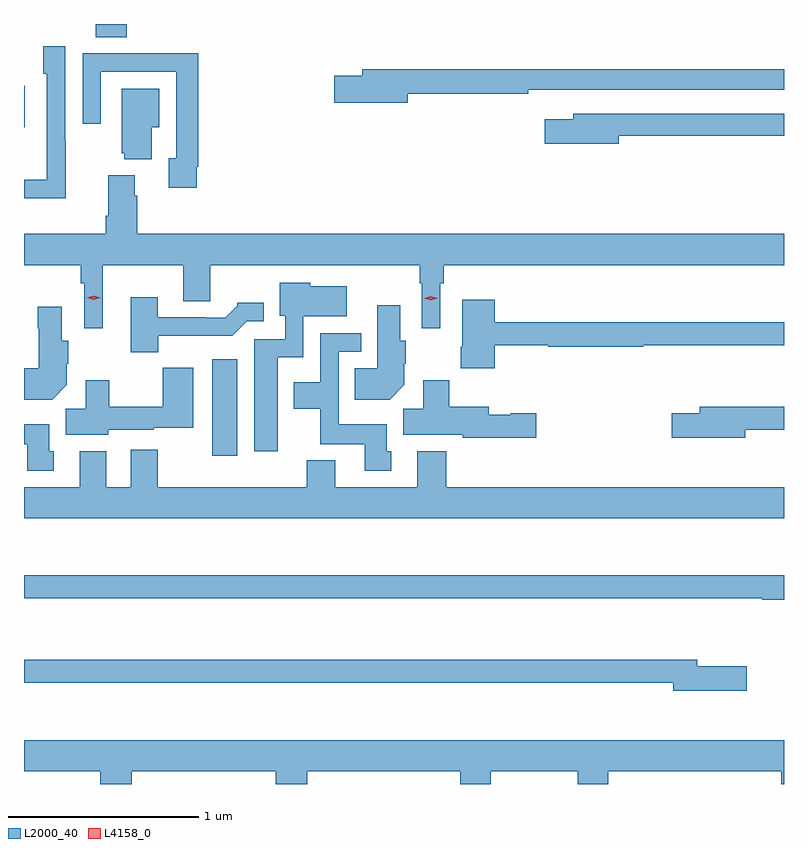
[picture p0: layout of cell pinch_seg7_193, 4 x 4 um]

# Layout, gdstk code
import gdstk
lib = gdstk.Library(unit=1e-6, precision=1e-09)
def R(c, l, rs):  # rectangles x0, y0, x1, y1
    for r in rs: c.add(gdstk.rectangle(r[:2], r[2:], *l))
def P(c, l, *ps):  # polygons
    for p in ps: c.add(gdstk.Polygon(p, *l))
L2000_40 = (2000, 40)
L4158_0 = (4158, 0)

pinch_seg7_193 = lib.new_cell('pinch_seg7_193')
R(pinch_seg7_193, L2000_40, [(660.422,1070.208,660.553,1070.716), (659.43,1071.938,659.434,1072.157), (659.807,1072.411,659.972,1072.481)])
P(pinch_seg7_193, L2000_40, [(659.649,1071.869),(659.646,1071.869),(659.646,1072.363),(659.531,1072.363),(659.531,1072.218),(659.55,1072.218),(659.55,1071.66),(659.43,1071.66),(659.43,1071.563),(659.649,1071.563)],
  [(660.34,1071.73),(660.347,1071.73),(660.347,1072.328),(660.055,1072.328),(660.055,1072.326),(659.739,1072.326),(659.739,1071.957),(659.835,1071.957),(659.835,1072.23),(660.231,1072.23),(660.231,1071.774),(660.191,1071.774),(660.191,1071.618),(660.34,1071.618)],
  [(661.45,1072.114),(662.084,1072.114),(662.084,1072.134),(663.43,1072.134),(663.43,1072.243),(661.211,1072.243),(661.211,1072.209),(661.062,1072.209),(661.062,1072.067),(661.45,1072.067)],
  [(660.103,1071.938),(660.142,1071.938),(660.142,1072.141),(659.945,1072.141),(659.945,1071.801),(659.957,1071.801),(659.957,1071.77),(660.103,1071.77)],
  [(662.56,1071.892),(663.43,1071.892),(663.43,1072.008),(662.321,1072.008),(662.321,1071.979),(662.172,1071.979),(662.172,1071.85),(662.56,1071.85)],
  [(659.845,1071.212),(660.269,1071.212),(660.269,1071.022),(660.409,1071.022),(660.409,1071.212),(661.512,1071.212),(661.512,1071.116),(661.524,1071.116),(661.524,1070.88),(661.62,1070.88),(661.62,1071.116),(661.64,1071.116),(661.64,1071.212),(663.43,1071.212),(663.43,1071.376),(660.026,1071.376),(660.026,1071.578),(660.013,1071.578),(660.013,1071.685),(659.873,1071.685),(659.873,1071.472),(659.861,1071.472),(659.861,1071.376),(659.43,1071.376),(659.43,1071.212),(659.728,1071.212),(659.728,1071.116),(659.748,1071.116),(659.748,1070.88),(659.845,1070.88)],
  [(660.766,1070.726),(660.9,1070.726),(660.9,1070.942),(661.129,1070.942),(661.129,1071.1),(660.936,1071.1),(660.936,1071.118),(660.776,1071.118),(660.776,1070.946),(660.804,1070.946),(660.804,1070.823),(660.641,1070.823),(660.641,1070.232),(660.766,1070.232)],
  [(660.136,1070.84),(660.527,1070.84),(660.603,1070.916),(660.691,1070.916),(660.691,1071.013),(660.552,1071.013),(660.552,1070.998),(660.488,1070.934),(660.389,1070.934),(660.389,1070.937),(660.133,1070.937),(660.133,1071.043),(659.993,1071.043),(659.993,1070.753),(660.136,1070.753)],
  [(661.907,1070.79),(662.19,1070.79),(662.19,1070.782),(662.69,1070.782),(662.69,1070.79),(663.43,1070.79),(663.43,1070.911),(661.907,1070.911),(661.907,1071.031),(661.736,1071.031),(661.736,1070.782),(661.729,1070.782),(661.729,1070.67),(661.907,1070.67)],
  [(661.432,1070.582),(661.432,1070.692),(661.44,1070.692),(661.44,1070.814),(661.411,1070.814),(661.411,1071.001),(661.289,1071.001),(661.289,1070.668),(661.171,1070.668),(661.171,1070.504),(661.354,1070.504)],
  [(659.656,1070.582),(659.656,1070.692),(659.664,1070.692),(659.664,1070.814),(659.629,1070.814),(659.629,1070.992),(659.502,1070.992),(659.502,1070.879),(659.507,1070.879),(659.507,1070.668),(659.43,1070.668),(659.43,1070.504),(659.578,1070.504)],
  [(661.363,1070.232),(661.339,1070.232),(661.339,1070.374),(661.086,1070.374),(661.086,1070.757),(661.204,1070.757),(661.204,1070.853),(660.99,1070.853),(660.99,1070.596),(660.851,1070.596),(660.851,1070.456),(660.988,1070.456),(660.988,1070.27),(661.223,1070.27),(661.223,1070.13),(661.363,1070.13)],
  [(659.874,1070.345),(660.114,1070.345),(660.114,1070.357),(660.322,1070.357),(660.322,1070.671),(660.16,1070.671),(660.16,1070.467),(659.878,1070.467),(659.878,1070.605),(659.756,1070.605),(659.756,1070.456),(659.651,1070.456),(659.651,1070.318),(659.874,1070.318)],
  [(662.125,1070.433),(661.992,1070.433),(661.992,1070.425),(661.876,1070.425),(661.876,1070.467),(661.667,1070.467),(661.667,1070.605),(661.532,1070.605),(661.532,1070.456),(661.427,1070.456),(661.427,1070.318),(661.74,1070.318),(661.74,1070.303),(662.125,1070.303)],
  [(663.226,1070.346),(663.43,1070.346),(663.43,1070.467),(662.987,1070.467),(662.987,1070.433),(662.838,1070.433),(662.838,1070.303),(663.226,1070.303)],
  [(659.587,1070.232),(659.563,1070.232),(659.563,1070.374),(659.43,1070.374),(659.43,1070.27),(659.447,1070.27),(659.447,1070.13),(659.587,1070.13)],
  [(663.43,1070.044),(661.652,1070.044),(661.652,1070.233),(661.499,1070.233),(661.499,1070.044),(661.069,1070.044),(661.069,1070.185),(660.917,1070.185),(660.917,1070.044),(660.133,1070.044),(660.133,1070.239),(659.993,1070.239),(659.993,1070.044),(659.863,1070.044),(659.863,1070.233),(659.723,1070.233),(659.723,1070.044),(659.43,1070.044),(659.43,1069.88),(663.43,1069.88)],
  [(663.43,1069.579),(659.43,1069.579),(659.43,1069.458),(663.316,1069.458),(663.316,1069.45),(663.43,1069.45)],
  [(663.235,1069.101),(662.974,1069.101),(662.974,1069.135),(659.43,1069.135),(659.43,1069.014),(662.846,1069.014),(662.846,1068.971),(663.235,1068.971)],
  [(659.43,1068.548),(659.831,1068.548),(659.831,1068.481),(659.996,1068.481),(659.996,1068.548),(660.755,1068.548),(660.755,1068.481),(660.92,1068.481),(660.92,1068.548),(661.727,1068.548),(661.727,1068.481),(661.887,1068.481),(661.887,1068.548),(662.344,1068.548),(662.344,1068.481),(662.504,1068.481),(662.504,1068.548),(663.416,1068.548),(663.416,1068.481),(663.43,1068.481),(663.43,1068.712),(659.43,1068.712)])
P(pinch_seg7_193, L4158_0, [(661.572,1071.027),(661.537,1071.037),(661.536,1071.037),(661.537,1071.037),(661.572,1071.047),(661.608,1071.037),(661.608,1071.037),(661.608,1071.037)],
  [(659.796,1071.031),(659.76,1071.041),(659.76,1071.041),(659.76,1071.041),(659.796,1071.051),(659.832,1071.041),(659.832,1071.041),(659.832,1071.041)])

lib.write_gds('pinch_seg7_193.gds')
